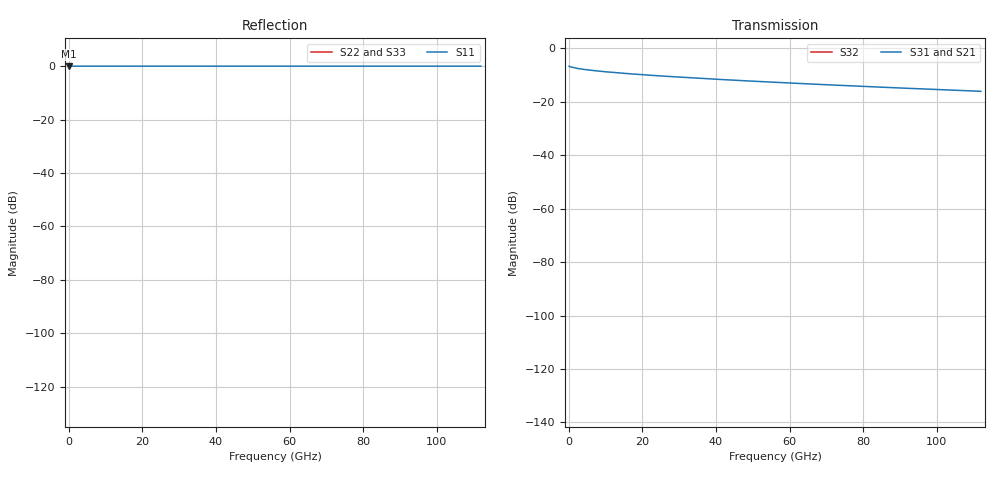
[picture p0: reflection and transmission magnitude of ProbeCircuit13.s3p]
! File created by SignalIntegrity v1.3.3: Signal and Power Integrity Tools
! https://github.com/TeledyneLeCroy/SignalIntegrity
# MHz S MA R 50.0
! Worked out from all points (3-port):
!   1120 points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, 100 MHz to 112 GHz, reference 50 ohm
!   strongest paths, dB at 100 MHz, 28.1 GHz, 56.1 GHz, 84.1 GHz, 112 GHz:
!     S31: -6.6, -10.6, -12.7, -14.4, -16.0
!     S21: -6.6, -10.6, -12.7, -14.4, -16.0
!     S32: -, -, -, -, -
!   lowest |S11| = 0.0 dB at 100 MHz (marker M1)
!   |S11| at or under -10 dB: nowhere
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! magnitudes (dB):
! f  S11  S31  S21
! 100 MHz  0.0  -6.6  -6.6
! 2.2 GHz  0.0  -7.4  -7.4
! 5.3 GHz  0.0  -8.0  -8.0
! 10.3 GHz  0.0  -8.8  -8.8
! 16.6 GHz  0.0  -9.5  -9.5
! 24.1 GHz  0.0  -10.2  -10.2
! 33.1 GHz  0.0  -11.0  -11.0
! 56.1 GHz  0.0  -12.7  -12.7
! 83.1 GHz  0.0  -14.4  -14.4
! 112 GHz  0.0  -16.0  -16.0
